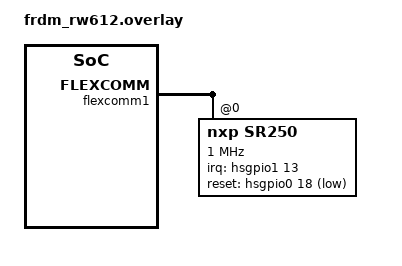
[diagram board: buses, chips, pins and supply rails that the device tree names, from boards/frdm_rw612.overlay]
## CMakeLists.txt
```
# Radar camera firmware for the FRDM-RW612: a Zephyr project (R6) sharing the core with the ESP32 firmwares.
# Build it with esp32/build.sh radar (Zephyr from esp32/zephyr-setup.sh).
cmake_minimum_required(VERSION 3.20.0)
find_package(Zephyr REQUIRED HINTS $ENV{ZEPHYR_BASE})
project(radar C CXX)

# libsodium, then the core (R4), which links it
include(sodium/sodium.cmake)
add_subdirectory(../components/wfb_core wfb_core)
add_subdirectory(../components/rtp_jpeg rtp_jpeg)
add_subdirectory(../components/radar_picture radar_picture)

# The link key (R9), as a C array the keys component includes
include(../components/keys/key_file.cmake)
wfb_key_file(key_file ${CONFIG_WFB_KEY_FILE})
set(key_inc ${CMAKE_CURRENT_BINARY_DIR}/generated/wfb_key.inc)
generate_inc_file_for_target(app ${key_file} ${key_inc})

target_sources(app PRIVATE src/main.cpp src/radio.cpp src/radio_nxp.c src/radar.cpp src/uwb.c ../components/keys/keys.cpp)
target_include_directories(app PRIVATE ../components/keys/include)
# Zephyr links only its own tree's libraries by itself
target_link_libraries(app PRIVATE wfb_core sodium radar_picture rtp_jpeg)
set_source_files_properties(../components/keys/keys.cpp PROPERTIES COMPILE_DEFINITIONS WFB_KEY_INC="${key_inc}")
```

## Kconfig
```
mainmenu "Radar camera (FRDM-RW612)"

menu "wfb-ng link"

    config LINK_CHANNEL
        int "WiFi channel"
        range 1 13
        default 6
        help
            Must match CHANNEL on the receiver (link.sh's default is 6) and the base station.

    config LINK_MCS
        int "HT20 MCS index"
        range 0 7
        default 3
        help
            The data rate. MCS 3 is 26 Mbit/s, as link.sh's MCS default.

    config LINK_ID
        hex "Link ID"
        range 0x0 0xffffff
        default 0x0
        help
            wfb-ng's link_id; with the radio port it makes the channel_id the receiver listens for.

    config LINK_RADIO_PORT
        int "Radio port (camera number)"
        range 0 15
        default 2 if LINK_PAYLOAD_RADAR_DATA || LINK_PAYLOAD_RADAR_PICTURE
        default 0
        help
            Camera N's video port; its telemetry goes on 0x10 + N. The radar is camera 2 by default, next to
            ESP32-CAMs 0 and 1 on the base station. The raw measurements go to port 0, where
            pc/radar_view.py listens.

    config LINK_FEC_K
        int "FEC k (data packets per block)"
        range 1 32
        default 1 if LINK_PAYLOAD_RADAR_DATA || LINK_PAYLOAD_RADAR_RAW
        default 8
        help
            The radar's data is one small packet per measurement: k = 1 sends each at once, as telemetry
            does. Pictures use the cameras' 8/12.

    config LINK_FEC_N
        int "FEC n (data + FEC packets per block)"
        range 1 32
        default 2 if LINK_PAYLOAD_RADAR_DATA || LINK_PAYLOAD_RADAR_RAW
        default 12

    choice LINK_PAYLOAD
        prompt "What to send"
        default LINK_PAYLOAD_RADAR_DATA

        config LINK_PAYLOAD_RADAR_DATA
            bool "What the radar finds, per measurement (and the finding as telemetry)"
            help
                Per measurement, 20 a second: the finding and the movement against distance, as a "D1"
                payload of ~124 bytes (radar_picture.hpp). The web page draws it; on a PC, radar_render
                draws it as video for ./ipc receive and the burn-in script (docs/DESIGN.md, M9).

        config LINK_PAYLOAD_RADAR_PICTURE
            bool "The radar picture (RTP/JPEG video, and the finding as telemetry)"
            help
                What the SR250 finds, drawn here as camera N's video, for receivers that only play video:
                ~1.2 Mbit/s on air at 10 pictures a second, where the data is ~40 kbit/s.

        config LINK_PAYLOAD_RADAR_RAW
            bool "The radar's raw measurements (R1, for pc/radar_view.py)"

        config LINK_PAYLOAD_COUNTER
            bool "Counter (link test)"
            help
                A numbered payload; esp32/tools/counter_check.py on the receiver reports any that go missing.

    endchoice

    config RADAR_PICTURE_EVERY
        int "Measurements per picture"
        depends on LINK_PAYLOAD_RADAR_PICTURE
        range 1 20
        default 4
        help
            The radar measures 20 times a second: 4 makes 5 pictures a second, 2 makes 10. Every
            measurement still counts for the finding and the trace. Drawing and encoding a picture takes
            ~35 ms, and each is ~10 KB, ~9 packets: 10 a second is ~1.2 Mbit/s on air with FEC. At 5 a
            second next to a camera, the base station's receive queue once overflowed: test it there.

    config RADAR_PACKET_GAP_MS
        int "Gap between a picture's packets (ms)"
        depends on LINK_PAYLOAD_RADAR_PICTURE
        range 0 50
        default 15
        help
            A picture's ~9 packets go out this far apart, ~135 ms in all, not in one burst: the base
            station passes each picture to its web viewers as it arrives, with little room per viewer.
            The next picture waits until the last packet is out, so 9 x this plus ~35 ms has to stay
            under the time between pictures (3 ms for 10 a second).

    config RADAR_JPEG_QUALITY
        int "Picture JPEG quality"
        depends on LINK_PAYLOAD_RADAR_PICTURE
        range 10 100
        default 60
        help
            60: ~8 KB a picture, the text still sharp; 80: ~11 KB.

    config LINK_COUNTER_RATE
        int "Counter payloads per second"
        depends on LINK_PAYLOAD_COUNTER
        range 1 2000
        default 100

    config LINK_COUNTER_SIZE
        int "Counter payload size (bytes)"
        depends on LINK_PAYLOAD_COUNTER
        range 32 1400
        default 400
        help
            Cut to the link's max payload if larger.

    choice RADIO_TX
        prompt "How frames reach NXP's WiFi driver"
        default RADIO_TX_COMMAND

        config RADIO_TX_COMMAND
            bool "A firmware command per frame (frames up to 1400 bytes)"

        config RADIO_TX_INJECT
            bool "wifi_inject_frame (the data path)"

    endchoice

    config RADIO_TX_CONTROL
        hex "Frame tx_control (rate) on the command path, instead of LINK_MCS"
        depends on RADIO_TX_COMMAND
        default 0x0
        help
            0: HT20 MCS LINK_MCS, i.e. bit 15 (a fixed rate) and rate index 14 + MCS from bit 16 (0-3 are
            1-11 Mbit/s, then 6-54 Mbit/s, 14-21 are MCS 0-7: measured with RADIO_RATE_SWEEP and the
            base station's received-rate report). Without a fixed rate the firmware sends at 1 Mbit/s.

    config RADIO_RATE_SWEEP
        bool "Step through the rate indexes (to find HT MCS 3)"
        depends on RADIO_TX_COMMAND
        help
            Every 4 seconds the next tx_control, bit 15 and index 0 to 31, printed on the console. The
            base station's stats line shows the rate each one gives on air.

endmenu

rsource "../components/keys/Kconfig"

source "Kconfig.zephyr"
```

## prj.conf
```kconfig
# Radar camera firmware for the FRDM-RW612. Board: frdm_rw612 (esp32/build.sh radar sets it).

# C++17 with the standard library: wifibroadcast.hpp includes <string> and <vector>
CONFIG_CPP=y
CONFIG_STD_CPP17=y
CONFIG_REQUIRES_FULL_LIBCPP=y
# wfb_tx allocates its FEC blocks once, at start (Coding conventions)
CONFIG_COMMON_LIBC_MALLOC_ARENA_SIZE=131072
CONFIG_MAIN_STACK_SIZE=8192
# The radar picture's drawing and JPEG encoding are floating point
CONFIG_FPU=y
# Built for speed rather than size (Zephyr's default): drawing and encoding a picture is what limits the
# picture rate, and the RW612 has flash to spare
CONFIG_SPEED_OPTIMIZATIONS=y

# The SR250 radar on the shield. No SPI DMA: in Zephyr v4.4.2 it drops each transfer's first byte (src/uwb.c)
CONFIG_SPI=y
CONFIG_SPI_MCUX_FLEXCOMM_DMA=n
CONFIG_GPIO=y

# libsodium's random source: the TRNG
CONFIG_ENTROPY_GENERATOR=y

# NXP's WiFi driver, for monitor mode and sending frames from the host. No network is joined, so no
# supplicant; the driver still sits under Zephyr's networking.
CONFIG_NETWORKING=y
CONFIG_NET_IPV4=y
CONFIG_NET_IPV6=n
CONFIG_WIFI=y
CONFIG_WIFI_NXP=y
CONFIG_NXP_RW610=y
CONFIG_NXP_WIFI_NET_MONITOR=y
CONFIG_NXP_WIFI_HOST_TXRX_MGMT_FRAME=y
CONFIG_WIFI_NM_WPA_SUPPLICANT=n
# The board's Ethernet isn't used
CONFIG_ETH_DRIVER=n

CONFIG_LOG=y
CONFIG_PRINTK=y
# printk straight to the console, not through the log buffer (which drops lines at boot)
CONFIG_LOG_PRINTK=n
```

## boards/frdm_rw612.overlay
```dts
/*
 * The SR250-ARD shield on the FRDM-RW612's Arduino header: SPI on flexcomm1 (the board routes MOSI and MISO
 * to D11 and D12 with NXP's rework, or jumper wires D0-D11 and D1-D12), the SR250's IRQ on GPIO 45 and its
 * RSTN on GPIO 18 (UM12413, table 2; NXP's frdm_rw612 overlays for the SR250).
 */

/* GPIO 18 is already a GPIO on this board; GPIO 45 (Arduino A2) isn't. Its pull-down is set here: on the
 * RW612 a pull lives in the pin mux, so the GPIO flag below doesn't reach the pin. */
&pinmux_hsgpio1 {
	group1 {
		pinmux = <IO_MUX_GPIO45>;
		slew-rate = "normal";
		bias-pull-down;
	};
};
/* SPI with chip select 0 (D10) only. The board's own setting adds the chip select 1 group after it, and as
 * the pin mux driver clears a pin's functions before setting the next, that leaves the controller wired to
 * chip select 1 (IO10): D10 is never driven and the SR250 is never selected. */
&pinctrl {
	pinmux_sr250_spi: pinmux_sr250_spi {
		group0 {
			pinmux = <IO_MUX_FC1_SPI_SS0>;
			slew-rate = "ultra";
		};
	};
};

&flexcomm1 {
	pinctrl-0 = <&pinmux_sr250_spi>;

	/* the SR250 needs time after chip select before the first clock, and between transfers: NXP's own
	 * firmware sets the SPI controller's delays to their maximum, 15 clocks (about 1 us at 16 MHz) */
	pre-delay = <1000>;
	post-delay = <1000>;
	transfer-delay = <1000>;

	sr250: sr250@0 {
		compatible = "nxp,sr250";
		reg = <0>;
		/* 1 MHz carries the radar's 20 KB/s with room to spare; on jumper wires it is also the safe choice */
		spi-max-frequency = <1000000>;
		irq-gpios = <&hsgpio1 13 (GPIO_ACTIVE_HIGH | GPIO_PULL_DOWN)>;
		reset-gpios = <&hsgpio0 18 (GPIO_ACTIVE_LOW | GPIO_PULL_UP)>;
	};
};
```

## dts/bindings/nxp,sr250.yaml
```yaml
description: |
  NXP Trimension SR250 UWB radar on SPI (the SR250-ARD shield), driven by the radar firmware's own UCI
  client (src/uwb.c).

compatible: "nxp,sr250"

include: [spi-device.yaml]

properties:
  irq-gpios:
    type: phandle-array
    required: true
    description: High while the SR250 has a message for the host.

  reset-gpios:
    type: phandle-array
    required: true
    description: The SR250's RSTN line; low resets it.
```

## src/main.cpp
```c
// Radar camera firmware for the FRDM-RW612 (app layer, R4). Kconfig "What to send":
//   - the radar's data (M9): per measurement, what the SR250 finds (a "D1" payload, radar_picture.hpp) on
//     camera N's video port, and the finding as camera N's telemetry; the web page draws it, and on a PC
//     radar_render draws it as video;
//   - the radar picture: the same drawn here and sent as camera N's RTP/JPEG video, for receivers that
//     only play video;
//   - the radar's raw measurements, one "R1" payload each (pc/radar_view.py);
//   - a numbered counter, to test the link itself (M8).
#include <stdio.h>
#include <string.h>

#include <zephyr/kernel.h>
#include <zephyr/sys/printk.h>
#include <zephyr/version.h>

#include "keys.hpp"
#include "radar.hpp"
#include "radar_picture.hpp"
#include "radio.hpp"
#include "radio_nxp.h"
#include "rtp_jpeg.hpp"
#include "wfb_tx.hpp"

static uint64_t now_us()
{
    return k_ticks_to_us_floor64(k_uptime_ticks());
}

// One wfb-ng stream (R5): camera N's video, or its telemetry
struct stream
{
    radio_tx radio;
    wfb_tx tx;
    explicit stream(uint32_t channel_id) : radio(channel_id), tx(radio) {}

    bool start(uint32_t channel_id, uint8_t fec_k, uint8_t fec_n)
    {
        wfb_tx_config cfg;
        cfg.fec_k = fec_k;
        cfg.fec_n = fec_n;
        cfg.channel_id = channel_id;
        cfg.max_packet = radio_max_packet();
        size_t key_size = 0;
        const uint8_t *key = keys_link_key(&key_size);
        wfb_status rc = tx.init(key, key_size, cfg);
        if (rc != WFB_OK)
        {
            printk("wfb_tx init: %s\n", wfb_status_name(rc));
            return false;
        }
        return true;
    }
};

static const uint32_t VIDEO_ID = ((uint32_t)CONFIG_LINK_ID << 8) + CONFIG_LINK_RADIO_PORT;
static stream video(VIDEO_ID);

#if CONFIG_LINK_PAYLOAD_RADAR_DATA || CONFIG_LINK_PAYLOAD_RADAR_PICTURE || CONFIG_LINK_PAYLOAD_RADAR_RAW

static const uint32_t TELEMETRY_ID = ((uint32_t)CONFIG_LINK_ID << 8) + 0x10 + CONFIG_LINK_RADIO_PORT;
static stream telemetry(TELEMETRY_ID);
static radar_detector detector;

#if CONFIG_LINK_PAYLOAD_RADAR_PICTURE
// A picture's RTP packets, each to become one wfb-ng payload, queued and sent CONFIG_RADAR_PACKET_GAP_MS apart
// rather than in one burst: the base station streams each picture to its web viewers as it arrives, with
// room for about 8 KB per viewer, and a picture arriving within a few milliseconds outran that and was cut.
struct paced_sink : rtp_jpeg_sink
{
    static constexpr int MAX = 32;
    uint8_t packets[MAX][WFB_MAX_PACKET];
    uint16_t sizes[MAX];
    int count = 0, next = 0;
    uint64_t next_at = 0;
    uint32_t sent = 0, errors = 0, overflow = 0;

    bool pending() const { return next < count; }

    void send_rtp(const uint8_t *packet, size_t size) override
    {
        if (count == MAX || size > WFB_MAX_PACKET)
        {
            overflow += 1;
            return;
        }
        memcpy(packets[count], packet, size);
        sizes[count++] = (uint16_t)size;
    }

    // Sends the next packet when its time has come; after the last, closes the FEC block so the picture
    // needs no later one to be recoverable
    void poll(uint64_t now)
    {
        if (!pending() || now < next_at)
        {
            return;
        }
        if (video.tx.send(packets[next], sizes[next], now) == WFB_OK)
        {
            sent += 1;
        }
        else
        {
            errors += 1;
        }
        next_at = now + CONFIG_RADAR_PACKET_GAP_MS * 1000;
        if (++next == count)
        {
            video.tx.close_block();
            count = next = 0;
        }
    }
};
#endif

// The finding as one JSON object (docs/DESIGN.md: Telemetry); the base station adds its signal quality
// fps and frame_kb: the payloads sent per second (pictures, or measurements) and their size
static void send_telemetry(uint32_t seq, uint32_t pictures_s, uint32_t picture_bytes)
{
    char msg[256];
    const radar_finding &f = detector.finding;
    int n = snprintf(msg, sizeof(msg),
                     "{\"cam\":%d,\"seq\":%lu,\"uptime_s\":%llu,\"fps\":%lu,\"frame_kb\":%.1f,\"temp_c\":null,"
                     "\"radar\":true,\"learning\":%s,\"moving\":%s,\"distance_m\":%.2f,\"strength_db\":%.1f}",
                     CONFIG_LINK_RADIO_PORT, (unsigned long)seq, (unsigned long long)(now_us() / 1000000),
                     (unsigned long)pictures_s, picture_bytes / 1024.0, f.learning ? "true" : "false",
                     f.moving ? "true" : "false", f.moving ? (double)f.distance_m : 0.0,
                     f.moving ? (double)f.strength_db : 0.0);
    telemetry.tx.send((const uint8_t *)msg, (size_t)n, now_us());
}

static void radar_loop()
{
    static uint8_t r1[WFB_MAX_PACKET];
#if CONFIG_LINK_PAYLOAD_RADAR_PICTURE
    static radar_picture picture;     // static: 150 KB of YCbCr
    static uint8_t jpeg[32 * 1024];
    static paced_sink sink;   // static: 45 KB of queued packets
    rtp_jpeg_config rtp_cfg;
    rtp_cfg.max_packet = video.tx.max_payload();
    static rtp_jpeg_packetizer packetizer(sink, rtp_cfg);
#endif
    uint64_t next_stats = now_us() + 1000000;
    radar_stats last_counts;
    uint16_t seq = 0;
    uint32_t telemetry_seq = 0, pictures = 0, picture_bytes = 0, pictures_s = 0, picture_kb_s = 0;
    uint32_t sent = 0, unreadable = 0, send_errors = 0, too_big = 0, encode_us = 0;
    bool was_moving = false;
#if CONFIG_LINK_PAYLOAD_RADAR_PICTURE
    int since_picture = 0;
#endif

    for (;;)
    {
        radar_cirs cirs;
#if CONFIG_LINK_PAYLOAD_RADAR_PICTURE
        sink.poll(now_us());
        bool got = radar_next(&cirs, sink.pending() ? 2 : 1000);   // short waits while packets are queued
#else
        bool got = radar_next(&cirs, 1000);
#endif
        if (got)
        {
            size_t n = radar_pack(cirs, seq++, r1, sizeof(r1));
            if (n == 0 || !detector.add_r1(r1, n))
            {
                unreadable += 1;
                continue;
            }
#if CONFIG_LINK_PAYLOAD_RADAR_RAW
            if (n <= video.tx.max_payload() && video.tx.send(r1, n, now_us()) == WFB_OK)
            {
                sent += 1;
            }
            else
            {
                send_errors += 1;
            }
#elif CONFIG_LINK_PAYLOAD_RADAR_DATA
            static uint8_t data[RADAR_DATA_MAX];
            size_t size = radar_data_pack(radar_data_of(detector), (uint16_t)(seq - 1), data, sizeof(data));
            if (size > 0 && size <= video.tx.max_payload() && video.tx.send(data, size, now_us()) == WFB_OK)
            {
                sent += 1;
                pictures += 1;   // for telemetry's fps and frame_kb: measurements sent, and their size
                picture_bytes += size;
            }
            else
            {
                send_errors += 1;
            }
#else
            radar_data now = radar_data_of(detector);
            picture.add(now);
            // A picture every CONFIG_RADAR_PICTURE_EVERY measurements; one that comes due while the last one's
            // packets are still going out waits for them, rather than being skipped
            if (++since_picture >= CONFIG_RADAR_PICTURE_EVERY && !sink.pending())
            {
                since_picture = 0;
                uint64_t t0 = now_us();
                picture.draw(now);
                size_t size = jpeg_encode_422(picture.y, picture.cb, picture.cr, radar_picture::WIDTH,
                                              radar_picture::HEIGHT, CONFIG_RADAR_JPEG_QUALITY, jpeg, sizeof(jpeg));
                encode_us = (uint32_t)(now_us() - t0);
                if (size == 0)
                {
                    too_big += 1;
                }
                else if (packetizer.send_frame(jpeg, size, (uint32_t)(now_us() * 9 / 100)) == RTP_JPEG_OK &&
                         sink.overflow == 0)
                {
                    sent += 1;
                    pictures += 1;
                    picture_bytes += size;
                }
                else
                {
                    send_errors += 1;
                    sink.overflow = 0;
                }
            }
#endif
            // The finding as telemetry once a second, and at once when something starts or stops moving
            if (detector.finding.moving != was_moving)
            {
                was_moving = detector.finding.moving;
                send_telemetry(telemetry_seq++, pictures_s, picture_kb_s);
            }
        }

        if (now_us() >= next_stats)
        {
            next_stats += 1000000;
            pictures_s = pictures;
            picture_kb_s = pictures ? picture_bytes / pictures : 0;
            send_telemetry(telemetry_seq++, pictures_s, picture_kb_s);
            printk("radar: %lu measurements/s, %lu sent (%s), %lu frames on air, %lu unreadable, %lu send errors, "
                   "%lu too big; %s",
                   (unsigned long)(radar_counts.notifications - last_counts.notifications), (unsigned long)sent,
                   IS_ENABLED(CONFIG_LINK_PAYLOAD_RADAR_PICTURE) ? "pictures" : "measurements", (unsigned long)video.radio.frames,
                   (unsigned long)unreadable, (unsigned long)send_errors, (unsigned long)too_big,
                   detector.finding.learning ? "learning" : detector.finding.moving ? "moving" : "nothing moving");
            if (detector.finding.moving)
            {
                printk(" at %.2f m", (double)detector.finding.distance_m);
            }
            if (pictures && IS_ENABLED(CONFIG_LINK_PAYLOAD_RADAR_PICTURE))
            {
                printk("; %lu bytes/picture, drawn and encoded in %lu ms", (unsigned long)(picture_bytes / pictures),
                       (unsigned long)(encode_us / 1000));
            }
            else if (pictures)
            {
                printk("; %lu bytes each", (unsigned long)(picture_bytes / pictures));
            }
            printk("\n");
            last_counts = radar_counts;
            sent = unreadable = send_errors = too_big = pictures = picture_bytes = 0;
            video.radio.frames = 0;
        }
    }
}

#else

// Payload: "rw612 counter <n>" then padding to CONFIG_LINK_COUNTER_SIZE (at most the max payload), so
// esp32/tools/counter_check.py on the receiver can spot gaps.
static void counter_loop()
{
    static uint8_t payload[CONFIG_LINK_COUNTER_SIZE];
    size_t payload_size = MIN(sizeof(payload), video.tx.max_payload());
    memset(payload, '.', sizeof(payload));
    const int64_t period_us = 1000000 / CONFIG_LINK_COUNTER_RATE;
    int64_t wake_us = now_us();
    uint64_t next_stats_us = wake_us + 1000000;
    uint32_t counter = 0, sent = 0, errors = 0, frames = 0, dropped = 0;

    for (;;)
    {
        int n = snprintf((char *)payload, payload_size, "rw612 counter %lu ", (unsigned long)counter);
        payload[n] = '.';
        uint64_t now = now_us();
        if (video.tx.send(payload, payload_size, now) == WFB_OK)
        {
            sent += 1;
        }
        else
        {
            errors += 1;
        }
        counter += 1;

        if (now >= next_stats_us)
        {
            next_stats_us += 1000000;
#if CONFIG_RADIO_RATE_SWEEP
            static uint32_t seconds = 0;
            if (seconds++ % 4 == 0)
            {
                uint32_t index = (seconds / 4) % 32;
                radio_nxp_tx_control = (1u << 15) | (index << 16);
                printk("rate sweep: tx_control 0x%08x (index %u)\n", radio_nxp_tx_control, (unsigned)index);
            }
#endif
            printk("counter %lu: %lu payloads/s, %lu frames/s, %lu dropped by WiFi (%d), %lu errors\n",
                   (unsigned long)counter, (unsigned long)sent, (unsigned long)(video.radio.frames - frames),
                   (unsigned long)(video.radio.dropped - dropped), video.radio.last_error, (unsigned long)errors);
            frames = video.radio.frames;
            dropped = video.radio.dropped;
            sent = errors = 0;
        }

        wake_us += period_us;
        int64_t wait = wake_us - (int64_t)now_us();
        if (wait > 0)
        {
            k_usleep(wait);
        }
        else
        {
            wake_us = now_us();   // behind: don't try to catch up in a burst
            k_yield();
        }
    }
}

#endif

int main(void)
{
    printk("radar camera, FRDM-RW612, Zephyr %s\n", KERNEL_VERSION_STRING);

#if CONFIG_LINK_PAYLOAD_RADAR_DATA || CONFIG_LINK_PAYLOAD_RADAR_PICTURE || CONFIG_LINK_PAYLOAD_RADAR_RAW
    // The SR250 first, before WiFi starts
    if (radar_start() != 0)
    {
        printk("radar: not started\n");
        return 0;
    }
#endif

    radio_config radio_cfg;
    radio_cfg.channel = CONFIG_LINK_CHANNEL;
    radio_cfg.mcs = CONFIG_LINK_MCS;
    if (radio_start(radio_cfg) != 0 || !video.start(VIDEO_ID, CONFIG_LINK_FEC_K, CONFIG_LINK_FEC_N))
    {
        return 0;
    }
    printk("wfb-ng link 0x%06x port %d, FEC %d/%d, max payload %u\n", CONFIG_LINK_ID, CONFIG_LINK_RADIO_PORT,
           CONFIG_LINK_FEC_K, CONFIG_LINK_FEC_N, (unsigned)video.tx.max_payload());

#if CONFIG_LINK_PAYLOAD_RADAR_DATA || CONFIG_LINK_PAYLOAD_RADAR_PICTURE || CONFIG_LINK_PAYLOAD_RADAR_RAW
    // Telemetry: its own stream (radio port 0x10 + N, FEC 1/2), as the cameras send theirs
    if (telemetry.start(TELEMETRY_ID, 1, 2))
    {
        printk("telemetry on port %d\n", 0x10 + CONFIG_LINK_RADIO_PORT);
    }
    radar_loop();
#else
    counter_loop();
#endif
    return 0;
}
```

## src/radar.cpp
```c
// The SR250's radar session (app layer, R4). See radar.hpp.
//
// The command sequence and settings are those NXP's plug-and-play demo uses for raw radar CIRs on the
// SR250-ARD shield (demo_radar_raw.py and UwbConfig_SR250ARD.py in nxp-appcodehub/an-sr250-uwb-plug-and-play-
// demo): UCI messages as bytes, sent by our own code.
#include "radar.hpp"

#include <math.h>
#include <string.h>

#include <zephyr/kernel.h>
#include <zephyr/sys/printk.h>

#include "uwb.h"

radar_stats radar_counts;

static uint8_t msg[UWB_MAX_MESSAGE];
static uint8_t cirs[16384];   // one CIR notification, reassembled from its segments
static uint32_t session = 0;

static void print_message(const char *what, const uint8_t *m, int n)
{
    printk("%s", what);
    for (int i = 0; i < n && i < 24; i++)
    {
        printk(" %02x", m[i]);
    }
    printk(n > 24 ? " ... (%d bytes)\n" : "\n", n);
}

// Sends a command and waits for its response (message type 2: 0x4X), printing notifications on the way.
// Returns the response's status byte, or a negative error.
static int command(const char *name, const uint8_t *cmd, size_t size)
{
    int rc = uwb_send(cmd, size);
    if (rc != 0)
    {
        printk("radar: %s: send failed (%d)\n", name, rc);
        return rc;
    }
    int resent = 0;
    for (int tries = 0; tries < 10; tries++)
    {
        int n = uwb_receive(msg, sizeof(msg), 1000);
        if (n <= 0)
        {
            printk("radar: %s: no response (%d)\n", name, n);
            return n < 0 ? n : -ETIMEDOUT;
        }
        if ((msg[0] & 0xE0) == 0x40 && (msg[0] & 0x0F) == (cmd[0] & 0x0F) && (msg[1] & 0x3F) == (cmd[1] & 0x3F))
        {
            int status = n > 4 ? msg[4] : 0;
            if (status != 0)
            {
                print_message("radar: response", msg, n);
            }
            printk("radar: %s: status %d\n", name, status);
            if ((cmd[0] & 0x0F) == 1 && cmd[1] == 0x00 && n >= 9)
            {
                // SESSION_INIT's response carries the session handle the later commands use
                memcpy(&session, msg + 5, sizeof(session));
            }
            return status;
        }
        // GENERIC_ERROR with STATUS_COMMAND_RETRY: the SR250 was asleep, and the transfer only woke it. Send
        // the command again at once, as NXP's host code does.
        if (n == 5 && msg[0] == 0x60 && msg[1] == 0x07 && msg[4] == 0x0A && resent < 5)
        {
            resent += 1;
            uwb_send(cmd, size);
            continue;
        }
        print_message("radar: notification", msg, n);
    }
    return -EIO;
}

// A session command: the handle goes in bytes 4..7
static int session_command(const char *name, uint8_t *cmd, size_t size)
{
    memcpy(cmd + 4, &session, sizeof(session));
    return command(name, cmd, size);
}

int radar_start()
{
    int rc = uwb_start();
    if (rc != 0)
    {
        return rc;
    }
    // Device: init (NXP), reset, info, low power mode off
    static const uint8_t device_init[] = {0x2E, 0x00, 0x00, 0x02, 0x00, 0x00};
    static const uint8_t device_reset[] = {0x20, 0x00, 0x00, 0x01, 0x00};
    static const uint8_t device_info[] = {0x20, 0x02, 0x00, 0x00};
    static const uint8_t low_power_off[] = {0x20, 0x04, 0x00, 0x04, 0x01, 0x01, 0x01, 0x00};
    command("device init", device_init, sizeof(device_init));
    command("device reset", device_reset, sizeof(device_reset));
    command("device info", device_info, sizeof(device_info));
    command("low power off", low_power_off, sizeof(low_power_off));

    // The SR250-ARD's antennas: RXC, RXB and TRA2 for receiving, TRA1 the radar's transmitter
    static const uint8_t antennas[] = {
        0x20, 0x04, 0x00, 0x3D, 0x03,
        0xE4, 0x60, 0x19, 0x04,
        0x01, 0x01, 0x00, 0x00, 0x00, 0x00, 0x02, 0x02, 0x00, 0x00, 0x00, 0x00,
        0x03, 0x03, 0x00, 0x00, 0x00, 0x00, 0x04, 0x04, 0x00, 0x00, 0x00, 0x00,
        0xE4, 0x62, 0x0D, 0x02,
        0x01, 0x01, 0x02, 0x00, 0x00, 0x00, 0x02, 0x00, 0x02, 0x03, 0x00, 0x00,
        0xE4, 0x63, 0x0D, 0x02,
        0x01, 0x01, 0x00, 0x00, 0x00, 0x00, 0x02, 0x02, 0x00, 0x00, 0x00, 0x00};
    command("antennas", antennas, sizeof(antennas));
    // Channel 9 calibration for the shield: clock accuracy, RX antenna delays, TX power per antenna
    static const uint8_t cal_clock[] = {0x2F, 0x21, 0x00, 0x0A, 0x09, 0x01, 0x07, 0x03, 0x24, 0x00, 0x24, 0x00, 0x04, 0x00};
    static const uint8_t cal_rx_delay[] = {0x2F, 0x21, 0x00, 0x10, 0x09, 0x02, 0x0D, 0x04, 0x01, 0x1D,
                                           0x48, 0x02, 0x1C, 0x48, 0x03, 0x24, 0x48, 0x04, 0x2A, 0x48};
    static const uint8_t cal_tx_power[] = {0x2F, 0x21, 0x00, 0x0E, 0x09, 0x04, 0x0B, 0x02, 0x01,
                                           0x00, 0x00, 0x2F, 0x00, 0x02, 0x00, 0x00, 0x39, 0x00};
    command("calibration: clock", cal_clock, sizeof(cal_clock));
    command("calibration: rx delay", cal_rx_delay, sizeof(cal_rx_delay));
    command("calibration: tx power", cal_tx_power, sizeof(cal_tx_power));

    // The radar session (type 0xF0)
    static const uint8_t session_init[] = {0x21, 0x00, 0x00, 0x05, 0x44, 0x33, 0x22, 0x11, 0xF0};
    if (command("session init", session_init, sizeof(session_init)) != 0)
    {
        return -EIO;
    }
    printk("radar: session handle 0x%08x\n", session);
    static uint8_t app_config[] = {0x21, 0x03, 0x00, 0x0B, 0, 0, 0, 0, 0x02,
                                   0x04, 0x01, 0x09,    // channel 9
                                   0x14, 0x01, 0x1A};   // preamble code index 26
    static uint8_t radar_config[] = {0x2F, 0x00, 0x00, 0x24, 0, 0, 0, 0, 0x06,
                                     0xA0, 0x01, 0x01,                                    // radar mode
                                     0xA5, 0x01, 0x00,                                    // single frame notifications
                                     0xA8, 0x07, 0x03, 0x76, 0x02, 0x76, 0x02, 0x76, 0x02,  // CIR start offset per antenna
                                     0xA9, 0x07, 0x32, 0x00, 0x00, 0x00, 0xE0, 0x2E, 0x01,  // frame repetition
                                     0xAD, 0x01, 0x01,                                    // performance
                                     0xB2, 0x02, 0xCD, 0x0C};                             // drift compensation
    static uint8_t radar_b3[] = {0x2F, 0x00, 0x00, 0x1A, 0, 0, 0, 0, 0x01, 0xB3, 0x13, 0x01, 0x01, 0x1A, 0x01,
                                 0x76, 0x02, 0x76, 0x02, 0x76, 0x02, 0x01, 0x02, 0x00, 0x00, 0x00, 0x00, 0x00,
                                 0x00, 0x00};
    static uint8_t radar_antennas[] = {0x2F, 0x00, 0x00, 0x10, 0, 0, 0, 0, 0x02,
                                       0x02, 0x02, 0x01, 0x01,                     // TX: TRA1
                                       0x03, 0x05, 0x02, 0x03, 0x01, 0x02, 0x00};  // RX: three antennas
    static uint8_t session_start[] = {0x22, 0x00, 0x00, 0x04, 0, 0, 0, 0};
    session_command("app config", app_config, sizeof(app_config));
    session_command("radar config", radar_config, sizeof(radar_config));
    session_command("radar config B3", radar_b3, sizeof(radar_b3));
    session_command("radar antennas", radar_antennas, sizeof(radar_antennas));
    if (session_command("session start", session_start, sizeof(session_start)) != 0)
    {
        return -EIO;
    }
    return 0;
}

size_t radar_pack(const radar_cirs &cirs, uint16_t seq, uint8_t *out, size_t out_size)
{
    // The notification: status, (reserved), number of CIRs (u16), CIR size in 32-bit words, (reserved), then
    // the CIRs: a 32-byte header (receive antenna at 18, start offset at 30) and complex int16 taps (I, Q)
    const uint8_t *d = cirs.data;
    if (cirs.size < 6 || d[0] != 0)
    {
        return 0;
    }
    size_t count = d[2] | (d[3] << 8);
    size_t cir_size = d[4] * 4;
    if (count == 0 || cir_size <= 32 || 6 + count * cir_size > cirs.size)
    {
        return 0;
    }
    size_t taps = (cir_size - 32) / 4;
    if (taps > 255 || 8 + count * (1 + taps) > out_size)
    {
        return 0;
    }
    const uint8_t *first = d + 6;
    out[0] = 'R';
    out[1] = '1';
    out[2] = seq & 0xFF;
    out[3] = seq >> 8;
    out[4] = (uint8_t)count;
    out[5] = (uint8_t)taps;
    out[6] = first[30];
    out[7] = first[31];
    uint8_t *p = out + 8;
    for (size_t c = 0; c < count; c++)
    {
        const uint8_t *cir = d + 6 + c * cir_size;
        *p++ = cir[18];
        const uint8_t *t = cir + 32;
        for (size_t i = 0; i < taps; i++, t += 4)
        {
            float re = (int16_t)(t[0] | (t[1] << 8));
            float im = (int16_t)(t[2] | (t[3] << 8));
            float half_db = 20.0f * log10f(re * re + im * im + 1.0f);   // 2 * 10 log10(power)
            *p++ = half_db > 255.0f ? 255 : (uint8_t)half_db;
        }
    }
    return p - out;
}

bool radar_next(radar_cirs *out, int timeout_ms)
{
    size_t have = 0;
    int64_t end = k_uptime_get() + timeout_ms;
    for (;;)
    {
        int left = (int)(end - k_uptime_get());
        if (left <= 0)
        {
            return false;
        }
        int n = uwb_receive(msg, sizeof(msg), left);
        if (n == 0)
        {
            return false;
        }
        if (n < 0)
        {
            radar_counts.errors += 1;
            return false;
        }
        // CIR notifications: 0x69 0x8A, segmented (bit 4 of byte 0 set) while more segments follow
        if ((msg[0] & 0xEF) != 0x69 || (msg[1] & 0x3F) != 0x0A)
        {
            radar_counts.other += 1;
            if (radar_counts.other <= 5)
            {
                print_message("radar: message", msg, n);
            }
            continue;
        }
        size_t part = n - 4;
        if (have + part > sizeof(cirs))
        {
            radar_counts.errors += 1;
            have = 0;
            continue;
        }
        memcpy(cirs + have, msg + 4, part);
        have += part;
        if (msg[0] & 0x10)
        {
            continue;   // more segments
        }
        if (have < 4)
        {
            radar_counts.errors += 1;
            have = 0;
            continue;
        }
        memcpy(&out->session, cirs, 4);
        out->data = cirs + 4;
        out->size = have - 4;
        radar_counts.notifications += 1;
        radar_counts.bytes += have;
        return true;
    }
}
```

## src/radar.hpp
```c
// The SR250's radar session (app layer, R4): which UCI commands start it, and the channel impulse responses
// (CIRs) it then reports.
#pragma once

#include <stddef.h>
#include <stdint.h>

// One CIR notification's contents (UCI 0x69 0x8A, reassembled), as the SR250 sends them.
struct radar_cirs
{
    uint32_t session;
    const uint8_t *data;   // the notification after the session handle: status, counts, then the CIRs
    size_t size;
};

// Resets the SR250, configures the shield's antennas and starts a radar session on channel 9. 0 or negative.
int radar_start();

// Waits for the next CIR notification; false on timeout or error. Other messages are counted and skipped.
bool radar_next(radar_cirs *out, int timeout_ms);

// One measurement as a link payload, "R1" format (pc/radar_view.py reads it):
//   'R' '1', sequence (u16), number of CIRs, taps per CIR, CIR start offset (u16, from the first CIR),
//   then per CIR: its receive antenna, and per tap its strength in half dB (2 * 10 log10(I^2 + Q^2)).
// Little-endian. Returns the size, or 0 if the measurement doesn't parse or doesn't fit.
size_t radar_pack(const radar_cirs &cirs, uint16_t seq, uint8_t *out, size_t out_size);

// Counters for the stats line
struct radar_stats
{
    uint32_t notifications = 0;   // CIR notifications
    uint32_t bytes = 0;           // in them
    uint32_t other = 0;           // other UCI messages
    uint32_t errors = 0;          // SPI or framing errors
};
extern radar_stats radar_counts;
```

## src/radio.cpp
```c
// Raw 802.11 transmit on the RW612 (platform layer, R4): the C++ side. See radio.hpp and radio_nxp.c.
#include "radio.hpp"

#include <errno.h>

#include "radio_nxp.h"

int radio_start(const radio_config &config)
{
    return radio_nxp_start(config.channel, config.mcs);
}

size_t radio_max_packet()
{
    return radio_nxp_max_body();
}

radio_tx::radio_tx(uint32_t channel_id) : framer(channel_id)
{
}

void radio_tx::send_frame(const uint8_t *buf, size_t size)
{
    size_t frame_size = framer.frame(frame, sizeof(frame), buf, size);
    if (frame_size == 0)
    {
        dropped += 1;
        last_error = -EMSGSIZE;
        return;
    }
    int rc = radio_nxp_send(frame, frame + WFB_80211_HEADER_SIZE, size);
    if (rc != 0)
    {
        dropped += 1;
        last_error = rc;
        return;
    }
    frames += 1;
    bytes += frame_size;
}
```

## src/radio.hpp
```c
// Raw 802.11 transmit for wfb-ng on the RW612 (platform layer, R4), with NXP's WiFi driver: the radio in
// monitor mode on a fixed channel, no network joined, and each wfb-ng packet sent as one 802.11 frame.
// The RW612's counterpart of the ESP32's radio component (esp_wifi_80211_tx); the core doesn't know which.
#pragma once

#include <stddef.h>
#include <stdint.h>

#include "wfb_80211.hpp"
#include "wfb_core.hpp"

struct radio_config
{
    uint8_t channel = 6;   // 2.4 GHz: the base station and the ESP32 cameras have no 5 GHz (protocol table)
    uint8_t mcs = 3;       // HT20 MCS 3, as link.sh's MCS default
};

// Waits for the WiFi driver, then puts the radio in monitor mode on the channel. Call once, before radio_tx.
// Returns 0, or a negative error after logging what failed.
int radio_start(const radio_config &config);

// The largest wfb-ng packet one frame carries on this driver path (wfb_tx_config.max_packet).
size_t radio_max_packet();

// Sends each finished wfb-ng packet as one 802.11 frame (R5): wfb_core hands packets here.
class radio_tx : public wfb_sink
{
public:
    explicit radio_tx(uint32_t channel_id);
    void send_frame(const uint8_t *buf, size_t size) override;

    uint32_t frames = 0;   // sent
    uint32_t bytes = 0;    // sent, 802.11 header included
    uint32_t dropped = 0;  // refused by the WiFi driver
    int last_error = 0;

private:
    wfb_80211_framer framer;
    uint8_t frame[1500];   // the 802.11 frame as wfb_80211_framer builds it
};
```

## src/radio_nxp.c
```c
// Raw 802.11 transmit with NXP's WiFi driver on the RW612 (platform layer, R4). See radio.hpp.
//
// The driver sends frames from the host only in monitor mode, with no network joined, in one layout: a
// 16-bit length, the 802.11 header with a fourth address, then the body (wlan_host_tx_frame_params_t).
// wfb-ng's header has three addresses; the fourth is sent as zeros, and the firmware leaves it out of a
// frame that isn't from-DS and to-DS. Two driver paths take that layout (Kconfig: RADIO_TX_*):
//   - wlan_mgmtframe_tx_cfg(): a firmware command per frame, at most 512 bytes; NXP's documented path for
//     "management and data frames in monitor mode";
//   - wifi_inject_frame(): the data path, no wait per frame, larger frames.
// Which one carries wfb-ng's frames unchanged, and how fast, is what M8 measures (docs/DESIGN.md).
#include "radio_nxp.h"

#include <errno.h>
#include <string.h>

#include <zephyr/kernel.h>
#include <zephyr/sys/printk.h>

#include "wifi.h"
#include "wlan.h"
#if CONFIG_RADIO_TX_COMMAND
#include "mlan_api.h"
#include "wifi-imu.h"
#include "wifi-internal.h"
#endif

#define WFB_HEADER 24   // frame control, duration, three addresses, sequence control

// wlan_host_tx_frame_params_t's fixed part: the length field and a four-address 802.11 header
#define HOST_FRAME_HEADER (sizeof(uint16_t) + TXRX_MGMT_FRAME_HEADER_LEN)

// The largest frame handed to the driver: on the data path one of its 1536-byte buffers, less its own headers
// in front of the frame; on the command path the same, which the command buffer holds with room to spare
#define HOST_FRAME_MAX 1400

// Set in radio_nxp_start(): CONFIG_RADIO_TX_CONTROL, or HT20 MCS from the configured MCS
uint32_t radio_nxp_tx_control;

#if CONFIG_RADIO_TX_COMMAND
// Adapted from wifi_mgmtframe_tx_cfg() in hal_nxp's mcux/middleware/wifi_nxp/wifidriver/mlan_api.c
// (BSD-3-Clause, NXP), at hal_nxp commit 7554bc0f6f6c284972eba7b2c17b16fbb9cc0ad0 (Zephyr v4.4.2): the same
// firmware command, with the frame's tx_control set (TXPD_TXRATE_ENABLE and a rate) instead of left at 0,
// where the firmware sends at its lowest rate, 1 Mbit/s. wlan_mgmtframe_tx_cfg()'s checks (monitor mode on,
// no network joined) are radio_nxp_start()'s.
// mlan_ds_misc_tx_frame ends in a 512-byte tx_buf, which wfb-ng's packets outgrow three times over, and
// smaller packets mean more frames for every receiver. The command it becomes has room for a full frame
// (the RW612's command buffer is WIFI_FW_CMDBUF_SIZE, 3072 bytes), so the struct gets a longer buffer behind
// it: tx_buf is its last member.
#define TX_BUF_EXTRA (HOST_FRAME_MAX + TXRX_MGMT_FRAME_HEADER_SIZE - 512)
static union
{
    mlan_ds_misc_tx_frame frame;
    uint8_t bytes[sizeof(mlan_ds_misc_tx_frame) + TX_BUF_EXTRA];
} tx_mem;   // static: 1.5 KB, and there is one sender

static int send_command(const wlan_host_tx_frame_params_t *frame)
{
    mlan_ds_misc_tx_frame *tx_frame = &tx_mem.frame;
    (void)memset(tx_mem.bytes, 0, sizeof(tx_mem.bytes));
    uint8_t *buf = tx_frame->tx_buf;
    uint32_t pkt_type = MRVL_PKT_TYPE_MGMT_FRAME;
    (void)memcpy(buf, &pkt_type, sizeof(pkt_type));
    (void)memcpy(buf + sizeof(pkt_type), &radio_nxp_tx_control, sizeof(radio_nxp_tx_control));
    (void)memcpy(buf + TXRX_MGMT_FRAME_HEADER_SIZE, frame, sizeof(frame->frm_len) + frame->frm_len);
    tx_frame->data_len = sizeof(frame->frm_len) + TXRX_MGMT_FRAME_HEADER_SIZE + frame->frm_len;
    tx_frame->buf_type = MLAN_BUF_TYPE_RAW_DATA;
    tx_frame->priority = 7;

    (void)wifi_get_command_lock();
    HostCmd_DS_COMMAND *cmd = wifi_get_command_buffer();
    (void)memset(cmd, 0x00, sizeof(HostCmd_DS_COMMAND));
    if (wlan_ops_sta_prepare_cmd((mlan_private *)mlan_adap->priv[0], HostCmd_CMD_802_11_TX_FRAME,
                                 HostCmd_ACT_GEN_SET, 0, NULL, tx_frame, cmd) != MLAN_STATUS_SUCCESS)
    {
        wifi_put_command_lock();
        return -WM_FAIL;
    }
    (void)wifi_wait_for_cmdresp(NULL);  // hands the command lock back
    return wm_wifi.cmd_resp_status;
}
#endif

size_t radio_nxp_max_body(void)
{
    return HOST_FRAME_MAX - HOST_FRAME_HEADER;
}

int radio_nxp_start(uint8_t channel, uint8_t mcs)
{
    // The driver starts by itself at boot (NXP_WIFI_AUTO_INIT), loading the WiFi core's firmware first
    for (int i = 0; !wlan_is_started(); i++)
    {
        if (i == 100)
        {
            printk("radio: the WiFi driver didn't start within 10 s\n");
            return -ETIMEDOUT;
        }
        k_msleep(100);
    }

    wlan_net_monitor_t monitor;
    memset(&monitor, 0, sizeof(monitor));
    monitor.action = 1;            // set
    monitor.monitor_activity = 1;  // on
    monitor.filter_flags = 7;      // management, control and data frames
    monitor.radio_type = 0;        // 2.4 GHz, 20 MHz, manual channel
    monitor.chan_number = channel;
    int rc = wlan_net_monitor_cfg(&monitor);
    if (rc != WM_SUCCESS)
    {
        printk("radio: monitor mode on channel %d failed (%d)\n", channel, rc);
        return -EIO;
    }

#if CONFIG_RADIO_TX_COMMAND
    // The rate goes in each frame's tx_control: bit 15 fixes it, and rate index 14 + n is HT MCS n (indexes
    // measured on air, see Kconfig). wlan_set_txratecfg() below doesn't reach frames from the host.
    radio_nxp_tx_control = CONFIG_RADIO_TX_CONTROL ? CONFIG_RADIO_TX_CONTROL : (1u << 15) | ((14u + mcs) << 16);
#endif

    // A fixed rate for the data path, as wfb_tx sets in its radiotap header
    wlan_ds_rate rate;
    memset(&rate, 0, sizeof(rate));
    rate.sub_command = WIFI_DS_RATE_CFG;
    rate.param.rate_cfg.rate_format = MLAN_RATE_FORMAT_HT;
    rate.param.rate_cfg.rate_index = mcs;
    rc = wlan_set_txratecfg(rate, MLAN_BSS_TYPE_STA);
    if (rc != WM_SUCCESS)
    {
        printk("radio: fixed rate HT MCS %d not accepted (%d); the firmware picks the rate\n", mcs, rc);
    }

    printk("radio: monitor mode, channel %d, HT20 MCS %d, %s, up to %u bytes per frame body\n", channel, mcs,
           IS_ENABLED(CONFIG_RADIO_TX_COMMAND) ? "wlan_mgmtframe_tx_cfg" : "wifi_inject_frame",
           (unsigned)radio_nxp_max_body());
    return 0;
}

int radio_nxp_send(const uint8_t *header, const uint8_t *body, size_t body_size)
{
    if (body_size > radio_nxp_max_body())
    {
        return -EMSGSIZE;
    }
    // The driver's layout, in a buffer of the size it copies from (frm_len + 2 bytes). One sender at a time.
    static uint8_t buf[HOST_FRAME_MAX] __aligned(4);
    wlan_host_tx_frame_params_t *frame = (wlan_host_tx_frame_params_t *)buf;
    frame->frm_len = TXRX_MGMT_FRAME_HEADER_LEN + body_size;
    // frame control, duration, three addresses and sequence control: the same 24 bytes in the same order
    memcpy(&frame->frm_ctl, header, WFB_HEADER);
    memset(frame->addr4, 0, sizeof(frame->addr4));
    memcpy(frame->payload, body, body_size);

#if CONFIG_RADIO_TX_COMMAND
    return send_command(frame);
#else
    return wifi_inject_frame(WLAN_BSS_TYPE_STA, buf, sizeof(uint16_t) + frame->frm_len);
#endif
}
```

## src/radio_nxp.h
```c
// The calls into NXP's WiFi driver, in C: its headers don't build as C++. radio.cpp is the C++ side.
#pragma once

#include <stddef.h>
#include <stdint.h>

#ifdef __cplusplus
extern "C" {
#endif

// Waits for the driver, then monitor mode on the channel and a fixed HT20 rate. 0, or a negative error.
int radio_nxp_start(uint8_t channel, uint8_t mcs);

// The largest frame body one frame carries on the configured driver path.
size_t radio_nxp_max_body(void);

// The firmware's per-frame tx_control on the command path: TXPD_TXRATE_ENABLE (bit 15) and a rate index from
// bit 16; 0 leaves the rate to the firmware. Kconfig RADIO_TX_CONTROL; the rate sweep changes it while running.
extern uint32_t radio_nxp_tx_control;

// One 802.11 frame: header (the 24 bytes wfb-ng builds) and body. 0, or the driver's error.
int radio_nxp_send(const uint8_t *header, const uint8_t *body, size_t body_size);

#ifdef __cplusplus
}
#endif
```

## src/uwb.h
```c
// The SR250 UWB radar over SPI (platform layer, R4): reset, then UCI messages in and out. Our own client,
// from the SR250's host interface as NXP's documents and open board files describe it; none of NXP's UWB
// software is in it (docs/DESIGN.md, Not goals).
#pragma once

#include <stddef.h>
#include <stdint.h>

#ifdef __cplusplus
extern "C" {
#endif

// The largest UCI message (header and payload) uwb_receive() takes; a radar notification with CIRs from
// three antennas fits.
#define UWB_MAX_MESSAGE 4096

// Resets the SR250 and waits for its boot loader's ready message, after which it runs its firmware and
// speaks UCI. 0, or a negative error after logging what failed.
int uwb_start(void);

// Sends one UCI packet (4-byte header and payload). 0, or a negative error.
int uwb_send(const uint8_t *packet, size_t size);

// Receives one UCI packet into buf (header first). Its size, 0 on timeout, or a negative error.
int uwb_receive(uint8_t *buf, size_t size, int timeout_ms);

#ifdef __cplusplus
}
#endif
```
